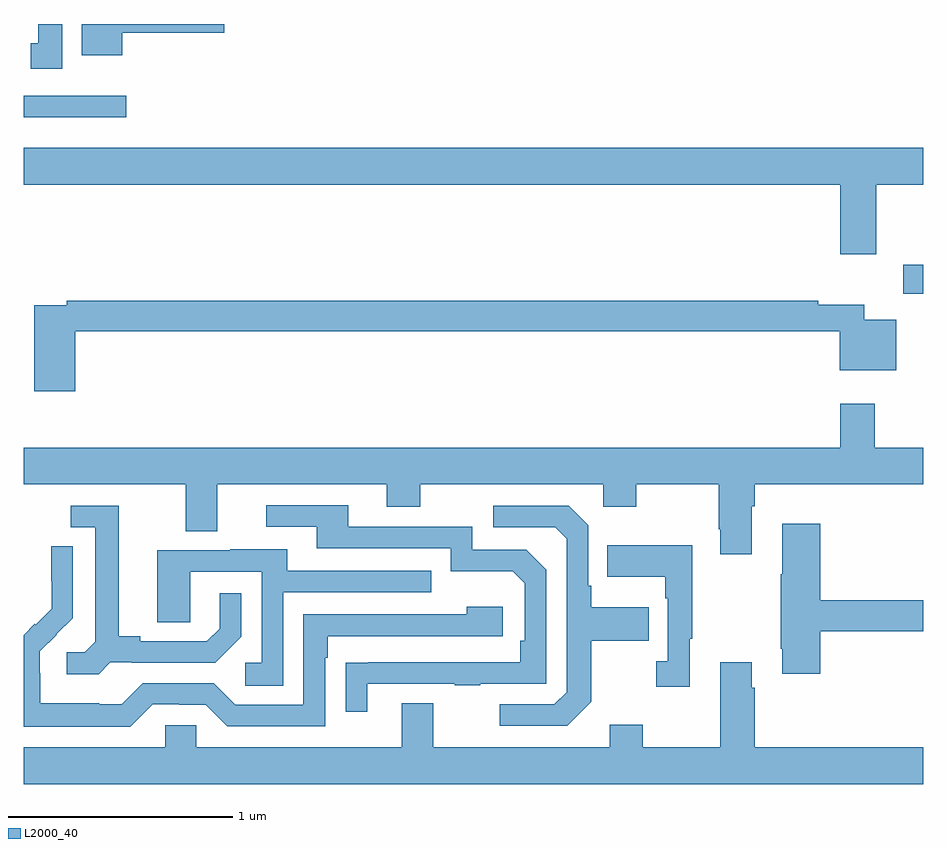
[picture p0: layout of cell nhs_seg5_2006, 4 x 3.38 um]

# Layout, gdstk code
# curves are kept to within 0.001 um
import gdstk
lib = gdstk.Library(unit=1e-6, precision=1e-09)
def R(c, l, rs):  # rectangles x0, y0, x1, y1
    for r in rs: c.add(gdstk.rectangle(r[:2], r[2:], *l))
def P(c, l, *ps):  # polygons
    for p in ps: c.add(gdstk.Polygon(p, *l))
L2000_40 = (2000, 40)

nhs_seg5_2006 = lib.new_cell('nhs_seg5_2006')
R(nhs_seg5_2006, L2000_40, [(232.911,865.599,233,865.728), (229,866.384,229.456,866.481)])
P(nhs_seg5_2006, L2000_40, [(229.171,866.799),(229.064,866.799),(229.064,866.714),(229.031,866.714),(229.031,866.601),(229.171,866.601)],
  [(229.438,866.759),(229.891,866.759),(229.891,866.799),(229.259,866.799),(229.259,866.66),(229.438,866.66)],
  [(232.791,866.084),(233,866.084),(233,866.248),(229,866.248),(229,866.084),(232.631,866.084),(232.631,865.776),(232.791,865.776)],
  [(229.229,865.432),(232.628,865.432),(232.628,865.259),(232.879,865.259),(232.879,865.483),(232.738,865.483),(232.738,865.551),(232.532,865.551),(232.532,865.568),(229.192,865.568),(229.192,865.548),(229.046,865.548),(229.046,865.167),(229.229,865.167)],
  [(229,864.752),(229.721,864.752),(229.721,864.544),(229.861,864.544),(229.861,864.752),(230.615,864.752),(230.615,864.653),(230.763,864.653),(230.763,864.752),(231.576,864.752),(231.576,864.653),(231.723,864.653),(231.723,864.752),(232.09,864.752),(232.09,864.553),(232.097,864.553),(232.097,864.441),(232.237,864.441),(232.237,864.656),(232.25,864.656),(232.25,864.752),(233,864.752),(233,864.916),(232.783,864.916),(232.783,865.111),(232.631,865.111),(232.631,864.916),(229,864.916)],
  [(230.527,863.865),(230.917,863.865),(230.917,863.86),(231.029,863.86),(231.029,863.865),(231.324,863.865),(231.324,864.372),(231.234,864.462),(230.994,864.462),(230.994,864.564),(230.443,864.564),(230.443,864.66),(230.079,864.66),(230.079,864.564),(230.303,864.564),(230.303,864.468),(230.898,864.468),(230.898,864.365),(231.175,864.365),(231.228,864.312),(231.228,864.058),(231.208,864.058),(231.208,863.961),(230.431,863.96),(230.431,863.742),(230.527,863.742)],
  [(231.523,863.785),(231.523,864.058),(231.779,864.058),(231.779,864.205),(231.523,864.205),(231.523,864.301),(231.51,864.301),(231.51,864.57),(231.423,864.657),(231.087,864.657),(231.087,864.561),(231.363,864.561),(231.414,864.51),(231.414,863.829),(231.36,863.775),(231.117,863.775),(231.117,863.679),(231.417,863.679)],
  [(229.386,863.961),(229.48,863.961),(229.48,863.958),(229.852,863.958),(229.968,864.074),(229.968,864.268),(229.871,864.268),(229.871,864.111),(229.814,864.054),(229.519,864.054),(229.519,864.077),(229.423,864.077),(229.423,864.657),(229.209,864.657),(229.209,864.561),(229.319,864.561),(229.319,864.053),(229.272,864.006),(229.191,864.006),(229.191,863.909),(229.334,863.909)],
  [(232.541,864.1),(233,864.1),(233,864.236),(232.541,864.236),(232.541,864.577),(232.373,864.577),(232.373,864.353),(232.366,864.353),(232.366,864.022),(232.373,864.022),(232.373,863.91),(232.541,863.91)],
  [(231.961,864.065),(231.973,864.065),(231.973,864.481),(231.595,864.481),(231.595,864.341),(231.852,864.341),(231.852,864.245),(231.864,864.245),(231.864,863.966),(231.813,863.966),(231.813,863.853),(231.961,863.853)],
  [(229.575,863.775),(229.691,863.775),(229.691,863.772),(229.809,863.772),(229.905,863.676),(230.34,863.676),(230.34,863.981),(230.353,863.981),(230.353,864.078),(231.13,864.078),(231.13,864.208),(230.969,864.208),(230.969,864.174),(230.244,864.174),(230.244,863.772),(229.941,863.772),(229.845,863.868),(229.53,863.868),(229.437,863.775),(229.337,863.775),(229.337,863.779),(229.074,863.779),(229.074,863.913),(229.072,863.913),(229.072,864.01),(229.218,864.158),(229.218,864.476),(229.122,864.476),(229.122,864.322),(229.124,864.322),(229.124,864.2),(229.053,864.129),(229.05,864.132),(229,864.082),(229,863.675),(229.475,863.675)],
  [(230.154,864.273),(230.813,864.273),(230.813,864.369),(230.173,864.369),(230.173,864.463),(229.919,864.463),(229.919,864.459),(229.595,864.459),(229.595,864.139),(229.74,864.139),(229.74,864.363),(230.058,864.363),(230.058,863.958),(229.986,863.958),(229.986,863.857),(230.154,863.857)],
  [(233,863.584),(232.25,863.584),(232.25,863.849),(232.237,863.849),(232.237,863.962),(232.097,863.962),(232.097,863.584),(231.753,863.584),(231.753,863.683),(231.605,863.683),(231.605,863.584),(230.821,863.584),(230.821,863.779),(230.681,863.779),(230.681,863.584),(229.767,863.584),(229.767,863.682),(229.629,863.682),(229.629,863.584),(229,863.584),(229,863.42),(233,863.42)])

lib.write_gds('nhs_seg5_2006.gds')
